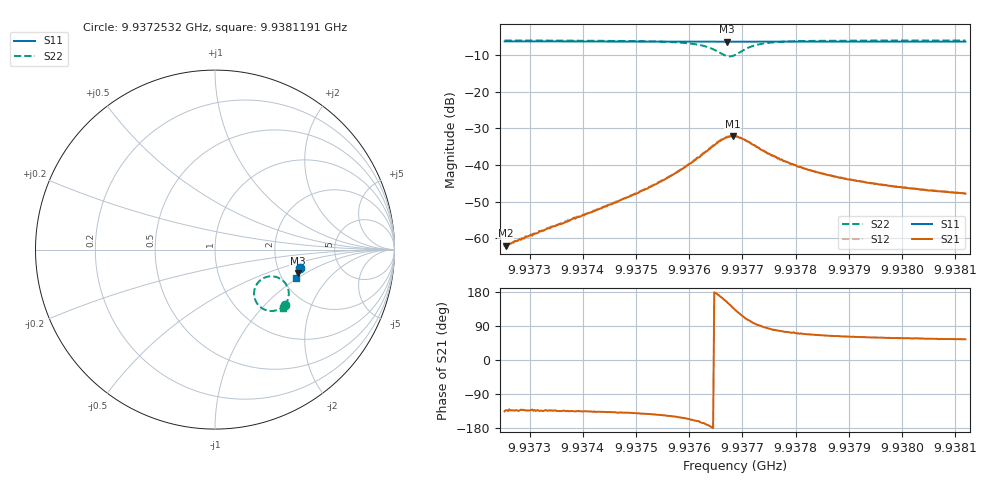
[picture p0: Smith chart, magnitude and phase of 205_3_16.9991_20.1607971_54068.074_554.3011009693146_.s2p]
#  HZ  S  RI  R  50.00
! Rohde & Schwarz Vector Network Analyzer
! Rohde-Schwarz,ZNB20-2Port,1311601062101988,3.16
! Created: UTC 3/20/2024, 11:01:14 PM
! freq[Hz]  re:S11  im:S11  re:S21  im:S21  re:S12  im:S12  re:S22  im:S22
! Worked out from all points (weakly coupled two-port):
!   401 points, 9.9372532 GHz to 9.9381191 GHz, reference 50 ohm
!   highest |S21| = -32.22 dB at 9.9376818 GHz (marker M1); lowest = -62.0 dB at 9.9372553 GHz (marker M2)
!   lowest |S11| = -6.4 dB at 9.937671 GHz (marker M3), VSWR 2.84, Z = 125 - j42.4 ohm
!   |S11| at or under -10 dB: nowhere
!   |S22| runs from -10.4 to -6.0 dB; largest |S21 - S12| = 0.0012
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9.93725316e9  0.4725 -0.1034  -0.000564 -0.000557  -0.000523 -0.000577  0.3918 -0.3073
9.93725532e9  0.4724 -0.1036  -0.000535 -0.000585  -0.00057 -0.000583  0.3916 -0.3074
9.93733326e9  0.4709 -0.109  -0.00094 -0.00098  -0.00096 -0.000974  0.3845 -0.314
9.9373982e9  0.4697 -0.1134  -0.00145 -0.00142  -0.00149 -0.00143  0.3768 -0.3203
9.93748047e9  0.4677 -0.1189  -0.00267 -0.0023  -0.00273 -0.0023  0.362 -0.3297
9.93754325e9  0.4661 -0.1233  -0.00472 -0.00333  -0.00484 -0.00331  0.3411 -0.338
9.93758655e9  0.465 -0.126  -0.00776 -0.00408  -0.00797 -0.00403  0.3138 -0.3419
9.93762768e9  0.4632 -0.129  -0.0141 -0.00336  -0.0144 -0.00287  0.2626 -0.327
9.93764933e9  0.462 -0.1301  -0.019 0.00106  -0.0195 0.0016  0.227 -0.2868
9.93766016e9  0.4614 -0.1302  -0.0211 0.00529  -0.0214 0.006  0.2176 -0.25
9.93767098e9  0.4609 -0.1303  -0.0211 0.0108  -0.0211 0.0117  0.226 -0.2059
9.93768181e9  0.461 -0.1302  -0.0182 0.0164  -0.018 0.0171  0.2565 -0.1678
9.93768614e9  0.4612 -0.1303  -0.0165 0.0179  -0.0162 0.0187  0.2732 -0.1577
9.93769696e9  0.4614 -0.1305  -0.0115 0.0202  -0.0108 0.0208  0.3169 -0.1488
9.93770995e9  0.4617 -0.1314  -0.00584 0.02  -0.00527 0.0203  0.3595 -0.16
9.93773593e9  0.462 -0.1335  0.000227 0.016  0.000796 0.0161  0.4006 -0.2014
9.93777273e9  0.4614 -0.1361  0.00275 0.0115  0.0029 0.0115  0.4111 -0.2435
9.93783118e9  0.4602 -0.1404  0.00323 0.00764  0.00342 0.0076  0.4066 -0.2766
9.93789397e9  0.4589 -0.1447  0.00303 0.00569  0.00318 0.00571  0.3991 -0.2945
9.93797623e9  0.4566 -0.1503  0.00271 0.00444  0.00284 0.00441  0.3909 -0.3082
9.938052e9  0.4547 -0.1552  0.00251 0.00371  0.00261 0.0037  0.3844 -0.3166
9.93811912e9  0.453 -0.1594  0.00234 0.0033  0.00247 0.00334  0.3795 -0.3228
